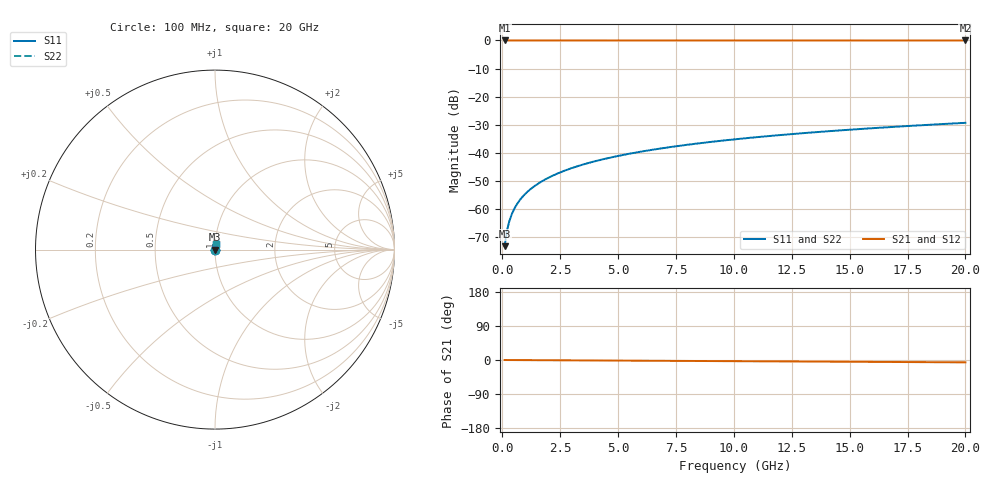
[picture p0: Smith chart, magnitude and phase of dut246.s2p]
! Touchstone file exported from HFSS 2026.1.0
!  File:  C:/ffzhzh/LocalFiles/Ansys_Project_Files/temp_train_TSV_246_1782992715_45328.aedt
!  Generated:  07:46:59 PM Jul  2, 2026
!  Design:  TSV
!  Project:  temp_train_TSV_246_1782992715_45328
! Variables:
!  h_bsmrdl = 2um
!  h_ox = 20um
!  h_rdl = 5um
!  h_sub = 50.75um
!  h_tmrdl = 5um
!  h_tsv = 50.75um
!  h_via = 3um
!  l_bsmrdl = 300um
!  l_sub = 419.98um
!  l_tmrdl = 200um
!  m_sub = 200um
!  pitch = 57.99um
!  r_tsv = 9.99um
!  s_tmrdl = 10um
!  w_bsmrdl = 18um
!  w_sub = 500um
!  w_tmrdl = 12um
!  x_tsv_center1 = 206um
!  x_tsv_center2 = 524um
!  x_tsv_center3 = 736um
!  x_tsv_center4 = 1054um
!  x_tsv_center5 = 1266um
!  x_tsv_center6 = 1584um
# GHz S MA R 50.000000
! Terminal data exported
! Port[1] = TSV1_1_T1
! Port[2] = TSV1_1_T2
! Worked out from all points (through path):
!   200 points, 100 MHz to 20 GHz, reference 50 ohm
!   highest |S21| = 0.00 dB at 100 MHz (marker M1); lowest = 0.0 dB at 20 GHz (marker M2)
!   lowest |S11| = -73.2 dB at 100 MHz (marker M3), VSWR 1.00, Z = 50 + j0.02 ohm
!   |S11| at or under -10 dB: start of sweep to end of sweep
!   |S22| runs from -73.2 to -29.3 dB; largest |S21 - S12| = 3.2e-15
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0.1  0.0002192 65.7  0.9999 -0.0  0.9999 -0.0  0.0002192 65.7
! Gamma 0 0 0 0
! Port Impedance 50 0 50 0
0.2  0.0004096 76.1  0.9999 -0.1  0.9999 -0.1  0.0004096 76.1
0.3  0.0006027 79.5  0.9999 -0.1  0.9999 -0.1  0.0006027 79.5
0.4  0.0007936 80.9  0.9999 -0.1  0.9999 -0.1  0.0007936 80.9
0.5  0.0009813 81.7  0.9999 -0.2  0.9999 -0.2  0.0009813 81.7
0.6  0.001166 82.2  0.9998 -0.2  0.9998 -0.2  0.001166 82.2
0.7  0.001348 82.6  0.9998 -0.2  0.9998 -0.2  0.001348 82.6
0.8  0.001527 82.9  0.9998 -0.3  0.9998 -0.3  0.001527 82.9
1  0.001882 83.4  0.9998 -0.3  0.9998 -0.3  0.001882 83.4
1.4  0.002582 84.2  0.9998 -0.4  0.9998 -0.4  0.002582 84.2
1.7  0.003105 84.6  0.9997 -0.5  0.9997 -0.5  0.003105 84.6
2  0.003627 84.9  0.9997 -0.6  0.9997 -0.6  0.003627 84.9
2.7  0.004845 85.4  0.9997 -0.8  0.9997 -0.8  0.004845 85.4
3.5  0.006235 85.6  0.9996 -1.1  0.9996 -1.1  0.006235 85.6
4.2  0.007447 85.7  0.9996 -1.3  0.9996 -1.3  0.007447 85.7
5  0.008827 85.7  0.9995 -1.6  0.9995 -1.6  0.008827 85.7
6.8  0.01192 85.5  0.9994 -2.1  0.9994 -2.1  0.01192 85.5
8.3  0.01448 85.2  0.9993 -2.6  0.9993 -2.6  0.01448 85.2
10.1  0.01754 84.9  0.9992 -3.1  0.9992 -3.1  0.01754 84.9
13.4  0.02314 84.1  0.999 -4.2  0.999 -4.2  0.02314 84.1
16.7  0.02871 83.3  0.9988 -5.2  0.9988 -5.2  0.02871 83.3
20  0.03425 82.3  0.9985 -6.2  0.9985 -6.2  0.03425 82.3
